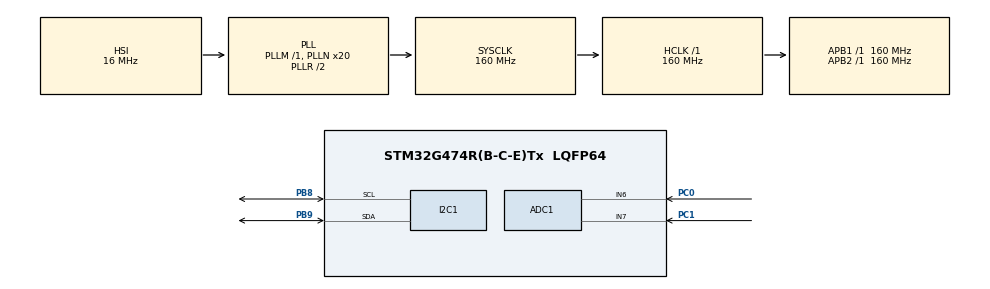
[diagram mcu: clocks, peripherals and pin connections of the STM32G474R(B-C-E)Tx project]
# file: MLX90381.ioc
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ADC1.Channel-1\#ChannelRegularConversion=ADC_CHANNEL_6
ADC1.NbrOfConversionFlag=1
ADC1.OffsetNumber-1\#ChannelRegularConversion=ADC_OFFSET_NONE
ADC1.Rank-1\#ChannelRegularConversion=1
ADC1.SamplingTime-1\#ChannelRegularConversion=ADC_SAMPLETIME_2CYCLES_5
ADC1.master=1
I2C1.I2C_Rise_Time=400
I2C1.Speed=25
I2C1.Timing=0xD071C1FF
Mcu.Family=STM32G4
Mcu.Name=STM32G474R(B-C-E)Tx
Mcu.Package=LQFP64
NUCLEO-G474RE.BUTTON=1
NUCLEO-G474RE.LD2=true
NUCLEO-G474RE.VCP=true
NVIC.EXTI15_10_IRQn=true\:0\:0\:false\:false\:true\:false\:true\:true
NVIC.PriorityGroup=NVIC_PRIORITYGROUP_4
PA13.GPIO_Label=T_SWDIO
PA13.Signal=SYS_JTMS-SWDIO
PA14.GPIO_Label=T_SWCLK
PA14.Signal=SYS_JTCK-SWCLK
PA2.Signal=LPUART1_TX
PA3.Signal=LPUART1_RX
PB3.GPIO_Label=T_SWO
PB3.Signal=SYS_JTDO-SWO
PB8-BOOT0.Mode=I2C
PB8-BOOT0.Signal=I2C1_SCL
PB9.Mode=I2C
PB9.Signal=I2C1_SDA
PC0.Mode=IN6-Single-Ended
PC0.Signal=ADC1_IN6
PC1.Mode=IN7-Single-Ended
PC1.Signal=ADC1_IN7
PC14-OSC32_IN.GPIO_Label=RCC_OSC32_IN
PC14-OSC32_IN.Signal=RCC_OSC32_IN
PC15-OSC32_OUT.GPIO_Label=RCC_OSC32_OUT
PC15-OSC32_OUT.Signal=RCC_OSC32_OUT
PF0-OSC_IN.GPIO_Label=RCC_OSC_IN
PF0-OSC_IN.Signal=RCC_OSC_IN
PF1-OSC_OUT.GPIO_Label=RCC_OSC_OUT
PF1-OSC_OUT.Signal=RCC_OSC_OUT
ProjectManager.HeapSize=0x200
ProjectManager.StackSize=0x400
ProjectManager.TargetToolchain=CMake
RCC.ADC12Freq_Value=160000000
RCC.ADC345Freq_Value=160000000
RCC.AHBFreq_Value=160000000
RCC.APB1Freq_Value=160000000
RCC.APB1TimFreq_Value=160000000
RCC.APB2Freq_Value=160000000
RCC.APB2TimFreq_Value=160000000
RCC.CortexFreq_Value=160000000
RCC.EXTERNAL_CLOCK_VALUE=12288000
RCC.HCLKFreq_Value=160000000
RCC.HSE_VALUE=24000000
RCC.HSI48_VALUE=48000000
RCC.HSI_VALUE=16000000
RCC.LSE_VALUE=32768
RCC.PLLN=20
RCC.RTCClockSelection=RCC_RTCCLKSOURCE_LSE
RCC.SYSCLKFreq_VALUE=160000000
RCC.SYSCLKSource=RCC_SYSCLKSOURCE_PLLCLK
RCC.USBFreq_Value=160000000
RCC.VCOOutputFreq_Value=320000000
VP_NUCLEO-G474RE_VS_BSP_COMMON.Mode=COMMON
VP_SYS_VS_DBSignals.Mode=DisableDeadBatterySignals
board=NUCLEO-G474RE

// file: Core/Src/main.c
/* USER CODE BEGIN Header */
/**
  ******************************************************************************
  * @file           : main.c
  * @brief          : Main program body
  ******************************************************************************
  * @attention
  *
  * Copyright (c) 2025 STMicroelectronics.
  * All rights reserved.
  *
  * This software is licensed under terms that can be found in the LICENSE file
  * in the root directory of this software component.
  * If no LICENSE file comes with this software, it is provided AS-IS.
  *
  ******************************************************************************
  */
/* USER CODE END Header */
#include "main.h"

/* USER CODE BEGIN Includes */
#include "mlx90381.h"
#include <string.h>
/* USER CODE END Includes */

/* USER CODE BEGIN PD */
#define MLX_DEBUG  false   /* Set to true for verbose debug messages */
#define NB_BYTE_WRITE  6   /* Number of bytes to write to register (default) */
/* USER CODE END PD */

COM_InitTypeDef BspCOMInit;
ADC_HandleTypeDef hadc1;

I2C_HandleTypeDef hi2c1;

/* USER CODE BEGIN PV */
/* MLX90381 driver handle */
MLX90381_HandleTypeDef hmlx;

/* Memory buffers */
uint16_t regMemoryWrite[MLX90381_REG_MEMORY_SIZE] = {0};
uint16_t regMemoryRead[MLX90381_REG_MEMORY_SIZE] = {0};
bool regMemoryHasRead = false;

uint16_t mtpMemoryWrite[MLX90381_MTP_MEMORY_SIZE] = {0};
uint16_t mtpMemoryRead[MLX90381_MTP_MEMORY_SIZE] = {0};
bool mtpMemoryHasRead = false;

/* I2C status */
uint8_t i2cStatus;
/* USER CODE END PV */

void SystemClock_Config(void);
static void MX_GPIO_Init(void);
static void MX_I2C1_Init(void);
static void MX_ADC1_Init(void);
/* USER CODE BEGIN PFP */
static char UART_GetChar(void);
static void PrintStartupBanner(void);
static void HandleProgramRegister(void);
static void HandleCheckRegister(void);
static void HandleProgramMTP(void);
static void HandleReadMTP(void);
static void HandleProgramMemlock(void);
static void HandleLoadRegMemory(void);
static void HandleLoadMTPMemory(void);
static void HandleMeasureMode(void);
static void MeasureOutputs(void);
/* USER CODE END PFP */

/* USER CODE BEGIN 0 */

/**
 * @brief  Get single character from UART (blocking)
 * @retval Received character
 */
static char UART_GetChar(void)
{
    char c;
    HAL_UART_Receive(&hcom_uart[COM1], (uint8_t*)&c, 1, HAL_MAX_DELAY);
    return c;
}

/**
 * @brief  Print startup banner (when MLX_DEBUG is enabled)
 */
static void PrintStartupBanner(void)
{
    printf("==================================================================\n");
    printf("filename: MLX90381_PTC_HW_I2C/main.c\n");
    printf("I2C Master for MLX90381AA.\n\n");

    printf("Description:\n");
    printf("- STM32 HAL implementation for MLX90381AA I2C communication.\n");
    printf("- Ported from Mbed OS to vanilla STM32 HAL.\n");
    printf("- Implements the activation sequence for MLX90381.\n\n");

    printf("NOTE: You can not use a development board that has\n");
    printf("I2C pull-up resistors assembled on the PCB.\n");
    printf("The MLX90381 has internal pull-up resistors on the output\n");
    printf("pins that are activated when I2C communication is entered.\n\n");

    printf("Instructions:\n");
    printf("S: Program register.\n");
    printf("C: Check register data.\n");
    printf("P: Program MTP.\n");
    printf("R: Read MTP.\n");
    printf("L: Program MEMLOCK.\n");
    printf("Note: MEMLOCK is a permanent LOCK of the MTP.\n");
    printf("W: Enter new data to program register address by address.\n");
    printf("E: Enter new data to program MTP address by address.\n");
    printf("I: Identify firmware.\n");
    printf("A: Print last acknowledge status.\n\n");

    printf("version history:\n");
    printf("2021/06/11 Release v1.0: Initial Mbed version\n");
    printf("2025/01/09 Release v2.0: STM32 HAL port\n");
    printf("==================================================================\n\n");
}

/**
 * @brief  Handle 'S' command - Program register
 */
static void HandleProgramRegister(void)
{
    if (!regMemoryHasRead) {
        printf("Register memory has not been read. Please read register memory first.\n");
        return;
    }

    if (MLX_DEBUG) MLX90381_PrintMessage(MSG_ACTIVATE_I2C);
    i2cStatus = MLX90381_PTCEntry(&hmlx);

    if (i2cStatus == MLX90381_PTC_FAIL) {
        MLX90381_PrintAcknowledge(i2cStatus);
        return;
    }

    if (hmlx.i2c_mode != 2 && hmlx.i2c_mode != 4) {
        /* Enter calibration mode */
        i2cStatus = MLX90381_EnterCalibrationMode(&hmlx);
    }

    /* Program customer register */
    if (MLX_DEBUG) MLX90381_PrintMessage(MSG_PROGRAM_CUSTOMER_REG);
    i2cStatus = MLX90381_WriteRegister(&hmlx, MLX90381_REG_CUSTOMER, regMemoryWrite, NB_BYTE_WRITE);

    if (NB_BYTE_WRITE != 6) {
        /* Enter application mode keeping calibration mode valid */
        i2cStatus = MLX90381_EnterCalAppMode(&hmlx);
    }

    MLX90381_ReleaseOutputs(&hmlx);

    if (i2cStatus == MLX90381_OK) {
        printf(" 0 : success ACK\n");
    } else {
        MLX90381_PrintAcknowledge(i2cStatus);
    }
}

/**
 * @brief  Handle 'C' command - Check register data
 */
static void HandleCheckRegister(void)
{
    if (MLX_DEBUG) MLX90381_PrintMessage(MSG_ACTIVATE_I2C);
    i2cStatus = MLX90381_PTCEntry(&hmlx);

    if (i2cStatus == MLX90381_PTC_FAIL) {
        MLX90381_PrintAcknowledge(i2cStatus);
        return;
    }

    if (hmlx.i2c_mode != 2 && hmlx.i2c_mode != 4) {
        /* Enter calibration mode */
        i2cStatus = MLX90381_EnterCalibrationMode(&hmlx);
    }

    /* Read Customer Register */
    if (MLX_DEBUG) MLX90381_PrintMessage(MSG_READ_CUSTOMER_REG);
    memset(regMemoryRead, 0, sizeof(regMemoryRead));
    i2cStatus = MLX90381_ReadMemory(&hmlx, MLX90381_REG_CUSTOMER, regMemoryRead, 8);

    for (uint8_t i = 0; i < 8; i++) {
        printf("%X ", 0x20 + i * 2);
        printf("%X ", regMemoryRead[i]);
    }
    printf("\n");

    /* Enter application mode keeping calibration mode valid */
    i2cStatus = MLX90381_EnterCalAppMode(&hmlx);

    MLX90381_ReleaseOutputs(&hmlx);

    if (i2cStatus != MLX90381_OK) {
        MLX90381_PrintAcknowledge(i2cStatus);
    }
    regMemoryHasRead = true;
}

/**
 * @brief  Handle 'P' command - Program MTP
 */
static void HandleProgramMTP(void)
{
    if (!mtpMemoryHasRead) {
        printf("MTP memory has not been read. Please read MTP memory first.\n");
        return;
    }

    if (MLX_DEBUG) MLX90381_PrintMessage(MSG_ACTIVATE_I2C);
    i2cStatus = MLX90381_PTCEntry(&hmlx);

    if (i2cStatus == MLX90381_PTC_FAIL) {
        MLX90381_PrintAcknowledge(i2cStatus);
        return;
    }

    if (hmlx.i2c_mode != 2 && hmlx.i2c_mode != 4) {
        /* Enter calibration mode */
        i2cStatus = MLX90381_EnterCalibrationMode(&hmlx);
    }

    /* Enter MTP write mode */
    i2cStatus = MLX90381_EnterMTPWriteMode(&hmlx);

    /* Program Customer MTP */
    if (MLX_DEBUG) MLX90381_PrintMessage(MSG_PROGRAM_CUSTOMER_MTP);
    i2cStatus = MLX90381_WriteMTP(&hmlx, 0x0000, mtpMemoryWrite, 8);

    /* After MTP writes, sensor may have timed out I2C (20-30ms timeout).
       Re-activate I2C and re-enter calibration mode before continuing. */
    if (MLX_DEBUG) printf("Re-activating I2C after MTP writes...\n");
    i2cStatus = MLX90381_PTCEntry(&hmlx);
    if (i2cStatus == MLX90381_PTC_SUCCESS) {
        i2cStatus = MLX90381_EnterCalibrationMode(&hmlx);
    }

    /* Deactivate MTP and reset write mode */
    i2cStatus = MLX90381_ResetMTPMode(&hmlx);

    /* Enter application mode with MTP configuration after write */
    i2cStatus = MLX90381_EnterNormalAppMode(&hmlx);

    MLX90381_ReleaseOutputs(&hmlx);

    MLX90381_PrintAcknowledge(i2cStatus);
}

/**
 * @brief  Handle 'R' command - Read MTP
 */
static void HandleReadMTP(void)
{
    if (MLX_DEBUG) MLX90381_PrintMessage(MSG_ACTIVATE_I2C);
    i2cStatus = MLX90381_PTCEntry(&hmlx);

    if (i2cStatus == MLX90381_PTC_FAIL) {
        MLX90381_PrintAcknowledge(i2cStatus);
        return;
    }

    if (hmlx.i2c_mode != 2 && hmlx.i2c_mode != 4) {
        /* Enter calibration mode */
        i2cStatus = MLX90381_EnterCalibrationMode(&hmlx);
    }

    /* Enter MTP read mode */
    i2cStatus = MLX90381_EnterMTPReadMode(&hmlx);

    /* Read first 8 words (0x00-0x0E) */
    memset(regMemoryRead, 0, sizeof(regMemoryRead));
    i2cStatus = MLX90381_ReadMemory(&hmlx, 0x0000, regMemoryRead, 8);

    for (uint8_t i = 0; i < 8; i++) {
        printf("%X ", i * 2);
        printf("%X ", regMemoryRead[i]);
    }

    /* Read next 8 words (0x10-0x1E) */
    memset(regMemoryRead, 0, sizeof(regMemoryRead));
    i2cStatus = MLX90381_ReadMemory(&hmlx, 0x0010, regMemoryRead, 8);

    for (uint8_t i = 0; i < 8; i++) {
        printf("%X ", 0x10 + i * 2);
        printf("%X ", regMemoryRead[i]);
    }
    printf("\n");

    /* Deactivate MTP and reset write mode */
    i2cStatus = MLX90381_ResetMTPMode(&hmlx);

    /* Enter application mode with MTP configuration */
    i2cStatus = MLX90381_EnterNormalAppMode(&hmlx);

    MLX90381_ReleaseOutputs(&hmlx);

    if (i2cStatus != MLX90381_OK) {
        MLX90381_PrintAcknowledge(i2cStatus);
    }
    mtpMemoryHasRead = true;
}

/**
 * @brief  Handle 'L' command - Program MEMLOCK (permanent!)
 */
static void HandleProgramMemlock(void)
{
    if (MLX_DEBUG) MLX90381_PrintMessage(MSG_ACTIVATE_I2C);
    i2cStatus = MLX90381_PTCEntry(&hmlx);

    if (i2cStatus == MLX90381_PTC_FAIL) {
        MLX90381_PrintAcknowledge(i2cStatus);
        return;
    }

    if (hmlx.i2c_mode != 2 && hmlx.i2c_mode != 4) {
        /* Enter calibration mode */
        i2cStatus = MLX90381_EnterCalibrationMode(&hmlx);
    }

    /* Enter MTP write mode */
    i2cStatus = MLX90381_EnterMTPWriteMode(&hmlx);

    /* Program MTP Lock */
    if (MLX_DEBUG) MLX90381_PrintMessage(MSG_PROGRAM_MTP_LOCK);
    uint16_t lockValue = MLX90381_MTP_LOCK;
    i2cStatus = MLX90381_WriteMTP(&hmlx, MLX90381_REG_MTP_LOCK, &lockValue, 1);

    /* Deactivate MTP and reset write mode */
    i2cStatus = MLX90381_ResetMTPMode(&hmlx);

    /* Enter application mode with MTP configuration after MEMLOCK */
    if (MLX_DEBUG) MLX90381_PrintMessage(MSG_ENTER_APP_AFTER_LOCK);
    i2cStatus = MLX90381_EnterNormalAppMode(&hmlx);

    MLX90381_ReleaseOutputs(&hmlx);

    MLX90381_PrintAcknowledge(i2cStatus);
}

/**
 * @brief  Handle 'W' command - Load Register MemoryWrite values manually
 */
static void HandleLoadRegMemory(void)
{
    char incomingChar[10];
    int incomingInt;
    char incomingByte;
    int a;

    for (uint8_t i = 0; i < 8; i++) {
        a = 0;

        printf("ADD %02X\n", 0x20 + i * 2);

        /* Read up to 4 characters for the value */
        do {
            incomingChar[a] = UART_GetChar();
            a++;
            if (a > 4) break;
        } while (incomingChar[a-1] != '\n' && incomingChar[a-1] != '\r');

        incomingChar[a] = '\0';
        sscanf(incomingChar, "%d", &incomingInt);
        regMemoryWrite[i] = (uint16_t)incomingInt;
        printf("%d\n", regMemoryWrite[i]);

        /* Wait for confirmation: 'y' = next, 'n' = retry, 'a' = abort */
        do {
            incomingByte = UART_GetChar();
        } while (incomingByte != 'n' && incomingByte != 'y' && incomingByte != 'a');

        if (incomingByte == 'n') {
            i--;  /* Retry this address */
        }
        if (incomingByte == 'a') {
            break;  /* Abort */
        }
    }
}

/**
 * @brief  Handle 'E' command - Load MTP MemoryWrite values manually
 */
static void HandleLoadMTPMemory(void)
{
    char incomingChar[10];
    int incomingInt;
    char incomingByte;
    int a;

    for (uint8_t i = 0; i < 8; i++) {
        a = 0;

        printf("ADD %02X\n", 0x00 + i * 2);

        /* Read up to 4 characters for the value */
        do {
            incomingChar[a] = UART_GetChar();
            a++;
            if (a > 4) break;
        } while (incomingChar[a-1] != '\n' && incomingChar[a-1] != '\r');

        incomingChar[a] = '\0';
        sscanf(incomingChar, "%d", &incomingInt);
        mtpMemoryWrite[i] = (uint16_t)incomingInt;
        printf("%d\n", mtpMemoryWrite[i]);

        /* Wait for confirmation: 'y' = next, 'n' = retry, 'a' = abort */
        do {
            incomingByte = UART_GetChar();
        } while (incomingByte != 'n' && incomingByte != 'y' && incomingByte != 'a');

        if (incomingByte == 'n') {
            i--;  /* Retry this address */
        }
        if (incomingByte == 'a') {
            break;  /* Abort */
        }
    }
}

/**
 * @brief  Handle 'M' command - Measure outputs in application mode
 * @note   Reads analog outputs OUT1 (A4/PC1) and OUT2 (A5/PC0)
 */
static void HandleMeasureMode(void)
{
    /* Check if already in normal application mode */
    if (hmlx.mtp_mode != 64 || hmlx.i2c_mode != 1) {  /* MTPresetMode=64, NormApplMode=1 */
        /* Activate I2C interface */
        if (MLX_DEBUG) MLX90381_PrintMessage(MSG_ACTIVATE_I2C);
        i2cStatus = MLX90381_PTCEntry(&hmlx);

        if (i2cStatus == MLX90381_PTC_SUCCESS) {
            /* Deactivate MTP and reset write mode */
            i2cStatus = MLX90381_ResetMTPMode(&hmlx);

            /* Enter application mode with MTP configuration */
            i2cStatus = MLX90381_EnterNormalAppMode(&hmlx);
        }

        MLX90381_ReleaseOutputs(&hmlx);

        /* Wait 2000-3000µs for output drivers to switch on */
        HAL_Delay(3);
    }

    if (i2cStatus == MLX90381_OK || i2cStatus == MLX90381_PTC_SUCCESS) {
        /* Measure analog outputs */
        MeasureOutputs();
    } else {
        MLX90381_PrintAcknowledge(i2cStatus);
    }
}

/**
 * @brief  Read and print analog outputs OUT1 and OUT2
 * @note   Requires ADC1 configured with IN6 (PC0/A5) and IN7 (PC1/A4)
 */
static void MeasureOutputs(void)
{
#ifdef HAL_ADC_MODULE_ENABLED
    extern ADC_HandleTypeDef hadc1;
    ADC_ChannelConfTypeDef sConfig = {0};
    uint32_t out1_value, out2_value;

    if (MLX_DEBUG) MLX90381_PrintMessage(MSG_MEASURE_OUTPUT);

    /* Wait for output drivers to stabilize */
    HAL_Delay(3);

    /* Configure and read OUT1 (PC1 = ADC1_IN7 = A4) */
    sConfig.Channel = ADC_CHANNEL_7;
    sConfig.Rank = ADC_REGULAR_RANK_1;
    sConfig.SamplingTime = ADC_SAMPLETIME_247CYCLES_5;
    sConfig.SingleDiff = ADC_SINGLE_ENDED;
    sConfig.OffsetNumber = ADC_OFFSET_NONE;
    HAL_ADC_ConfigChannel(&hadc1, &sConfig);
    HAL_ADC_Start(&hadc1);
    HAL_ADC_PollForConversion(&hadc1, 100);
    out1_value = HAL_ADC_GetValue(&hadc1);
    HAL_ADC_Stop(&hadc1);

    /* Configure and read OUT2 (PC0 = ADC1_IN6 = A5) */
    sConfig.Channel = ADC_CHANNEL_6;
    HAL_ADC_ConfigChannel(&hadc1, &sConfig);
    HAL_ADC_Start(&hadc1);
    HAL_ADC_PollForConversion(&hadc1, 100);
    out2_value = HAL_ADC_GetValue(&hadc1);
    HAL_ADC_Stop(&hadc1);

    printf(" OUT1 %lu OUT2 %lu\n", out1_value, out2_value);
#else
    printf("ADC not configured. Enable ADC1 with IN6 (PC0) and IN7 (PC1) in CubeMX.\n");
#endif
}

/* USER CODE END 0 */

int main(void)
{

  /* MCU Configuration--------------------------------------------------------*/

  /* Reset of all peripherals, Initializes the Flash interface and the Systick. */
  HAL_Init();

  /* Configure the system clock */
  SystemClock_Config();

  /* Initialize all configured peripherals */
  MX_GPIO_Init();
  MX_I2C1_Init();
  MX_ADC1_Init();

  /* Initialize led */
  BSP_LED_Init(LED_GREEN);

  /* Initialize USER push-button, will be used to trigger an interrupt each time it's pressed.*/
  BSP_PB_Init(BUTTON_USER, BUTTON_MODE_EXTI);

  /* Initialize COM1 port (115200, 8 bits (7-bit data + 1 stop bit), no parity */
  BspCOMInit.BaudRate   = 115200;
  BspCOMInit.WordLength = COM_WORDLENGTH_8B;
  BspCOMInit.StopBits   = COM_STOPBITS_1;
  BspCOMInit.Parity     = COM_PARITY_NONE;
  BspCOMInit.HwFlowCtl  = COM_HWCONTROL_NONE;
  if (BSP_COM_Init(COM1, &BspCOMInit) != BSP_ERROR_NONE)
  {
    Error_Handler();
  }

  /* Infinite loop */
  /* USER CODE BEGIN WHILE */
  /* Initialize MLX90381 driver */
  MLX90381_Init(&hmlx, &hi2c1, MLX_DEBUG);

  /* Print startup banner if debug enabled */
  if (MLX_DEBUG) {
      PrintStartupBanner();
  }

  /* Initial PTC entry and mode setup */
  if (MLX_DEBUG) MLX90381_PrintMessage(MSG_ACTIVATE_I2C);
  i2cStatus = MLX90381_PTCEntry(&hmlx);

  if (i2cStatus == MLX90381_PTC_SUCCESS) {
      /* Deactivate MTP and reset write mode */
      i2cStatus = MLX90381_ResetMTPMode(&hmlx);

      /* Enter application mode with MTP configuration */
      i2cStatus = MLX90381_EnterNormalAppMode(&hmlx);
  }

  MLX90381_ReleaseOutputs(&hmlx);

  if (i2cStatus != MLX90381_OK) {
      MLX90381_PrintAcknowledge(i2cStatus);
  }

  char incomingByte;

  while (1)
  {
    /* Get instruction */
    incomingByte = UART_GetChar();

    switch (incomingByte) {
        case 'A':
            /* Print last acknowledge status */
            MLX90381_PrintAcknowledge(i2cStatus);
            break;

        case 'S':
            /* Program register */
            HandleProgramRegister();
            break;

        case 'C':
            /* Check register data */
            HandleCheckRegister();
            break;

        case 'P':
            /* Program MTP */
            HandleProgramMTP();
            break;

        case 'R':
            /* Read MTP */
            HandleReadMTP();
            break;

        case 'L':
            /* Program MEMLOCK (permanent!) */
            HandleProgramMemlock();
            break;

        case 'W':
            /* Load MemoryWrite values manually */
            HandleLoadRegMemory();
            break;

        case 'E':
            /* Load MTP MemoryWrite values manually */
            HandleLoadMTPMemory();
            break;

        case 'M':
            /* Enter application mode with MTP configuration */
            HandleMeasureMode();
            break;

        case 'I':
            /* Identify firmware */
            printf("90381\n");
            break;

        default:
            /* Ignore unknown commands */
            break;
    }
    /* USER CODE END WHILE */

  }
}

void SystemClock_Config(void)
{
  RCC_OscInitTypeDef RCC_OscInitStruct = {0};
  RCC_ClkInitTypeDef RCC_ClkInitStruct = {0};

  /** Configure the main internal regulator output voltage
  */
  HAL_PWREx_ControlVoltageScaling(PWR_REGULATOR_VOLTAGE_SCALE1_BOOST);

  /** Initializes the RCC Oscillators according to the specified parameters
  * in the RCC_OscInitTypeDef structure.
  */
  RCC_OscInitStruct.OscillatorType = RCC_OSCILLATORTYPE_HSI;
  RCC_OscInitStruct.HSIState = RCC_HSI_ON;
  RCC_OscInitStruct.HSICalibrationValue = RCC_HSICALIBRATION_DEFAULT;
  RCC_OscInitStruct.PLL.PLLState = RCC_PLL_ON;
  RCC_OscInitStruct.PLL.PLLSource = RCC_PLLSOURCE_HSI;
  RCC_OscInitStruct.PLL.PLLM = RCC_PLLM_DIV1;
  RCC_OscInitStruct.PLL.PLLN = 20;
  RCC_OscInitStruct.PLL.PLLP = RCC_PLLP_DIV2;
  RCC_OscInitStruct.PLL.PLLQ = RCC_PLLQ_DIV2;
  RCC_OscInitStruct.PLL.PLLR = RCC_PLLR_DIV2;
  if (HAL_RCC_OscConfig(&RCC_OscInitStruct) != HAL_OK)
  {
    Error_Handler();
  }

  /** Initializes the CPU, AHB and APB buses clocks
  */
  RCC_ClkInitStruct.ClockType = RCC_CLOCKTYPE_HCLK|RCC_CLOCKTYPE_SYSCLK
                              |RCC_CLOCKTYPE_PCLK1|RCC_CLOCKTYPE_PCLK2;
  RCC_ClkInitStruct.SYSCLKSource = RCC_SYSCLKSOURCE_PLLCLK;
  RCC_ClkInitStruct.AHBCLKDivider = RCC_SYSCLK_DIV1;
  RCC_ClkInitStruct.APB1CLKDivider = RCC_HCLK_DIV1;
  RCC_ClkInitStruct.APB2CLKDivider = RCC_HCLK_DIV1;

  if (HAL_RCC_ClockConfig(&RCC_ClkInitStruct, FLASH_LATENCY_4) != HAL_OK)
  {
    Error_Handler();
  }
}

static void MX_ADC1_Init(void)
{

  ADC_MultiModeTypeDef multimode = {0};
  ADC_ChannelConfTypeDef sConfig = {0};

  /** Common config
  */
  hadc1.Instance = ADC1;
  hadc1.Init.ClockPrescaler = ADC_CLOCK_SYNC_PCLK_DIV4;
  hadc1.Init.Resolution = ADC_RESOLUTION_12B;
  hadc1.Init.DataAlign = ADC_DATAALIGN_RIGHT;
  hadc1.Init.GainCompensation = 0;
  hadc1.Init.ScanConvMode = ADC_SCAN_DISABLE;
  hadc1.Init.EOCSelection = ADC_EOC_SINGLE_CONV;
  hadc1.Init.LowPowerAutoWait = DISABLE;
  hadc1.Init.ContinuousConvMode = DISABLE;
  hadc1.Init.NbrOfConversion = 1;
  hadc1.Init.DiscontinuousConvMode = DISABLE;
  hadc1.Init.ExternalTrigConv = ADC_SOFTWARE_START;
  hadc1.Init.ExternalTrigConvEdge = ADC_EXTERNALTRIGCONVEDGE_NONE;
  hadc1.Init.DMAContinuousRequests = DISABLE;
  hadc1.Init.Overrun = ADC_OVR_DATA_PRESERVED;
  hadc1.Init.OversamplingMode = DISABLE;
  if (HAL_ADC_Init(&hadc1) != HAL_OK)
  {
    Error_Handler();
  }

  /** Configure the ADC multi-mode
  */
  multimode.Mode = ADC_MODE_INDEPENDENT;
  if (HAL_ADCEx_MultiModeConfigChannel(&hadc1, &multimode) != HAL_OK)
  {
    Error_Handler();
  }

  /** Configure Regular Channel
  */
  sConfig.Channel = ADC_CHANNEL_6;
  sConfig.Rank = ADC_REGULAR_RANK_1;
  sConfig.SamplingTime = ADC_SAMPLETIME_2CYCLES_5;
  sConfig.SingleDiff = ADC_SINGLE_ENDED;
  sConfig.OffsetNumber = ADC_OFFSET_NONE;
  sConfig.Offset = 0;
  if (HAL_ADC_ConfigChannel(&hadc1, &sConfig) != HAL_OK)
  {
    Error_Handler();
  }

}

static void MX_I2C1_Init(void)
{

  hi2c1.Instance = I2C1;
  hi2c1.Init.Timing = 0xD071C1FF;
  hi2c1.Init.OwnAddress1 = 0;
  hi2c1.Init.AddressingMode = I2C_ADDRESSINGMODE_7BIT;
  hi2c1.Init.DualAddressMode = I2C_DUALADDRESS_DISABLE;
  hi2c1.Init.OwnAddress2 = 0;
  hi2c1.Init.OwnAddress2Masks = I2C_OA2_NOMASK;
  hi2c1.Init.GeneralCallMode = I2C_GENERALCALL_DISABLE;
  hi2c1.Init.NoStretchMode = I2C_NOSTRETCH_DISABLE;
  if (HAL_I2C_Init(&hi2c1) != HAL_OK)
  {
    Error_Handler();
  }

  /** Configure Analogue filter
  */
  if (HAL_I2CEx_ConfigAnalogFilter(&hi2c1, I2C_ANALOGFILTER_ENABLE) != HAL_OK)
  {
    Error_Handler();
  }

  /** Configure Digital filter
  */
  if (HAL_I2CEx_ConfigDigitalFilter(&hi2c1, 0) != HAL_OK)
  {
    Error_Handler();
  }

}

static void MX_GPIO_Init(void)
{

  /* GPIO Ports Clock Enable */
  __HAL_RCC_GPIOC_CLK_ENABLE();
  __HAL_RCC_GPIOF_CLK_ENABLE();
  __HAL_RCC_GPIOA_CLK_ENABLE();
  __HAL_RCC_GPIOB_CLK_ENABLE();

}

void Error_Handler(void)
{
  __disable_irq();
  while (1)
  {
  }
}
